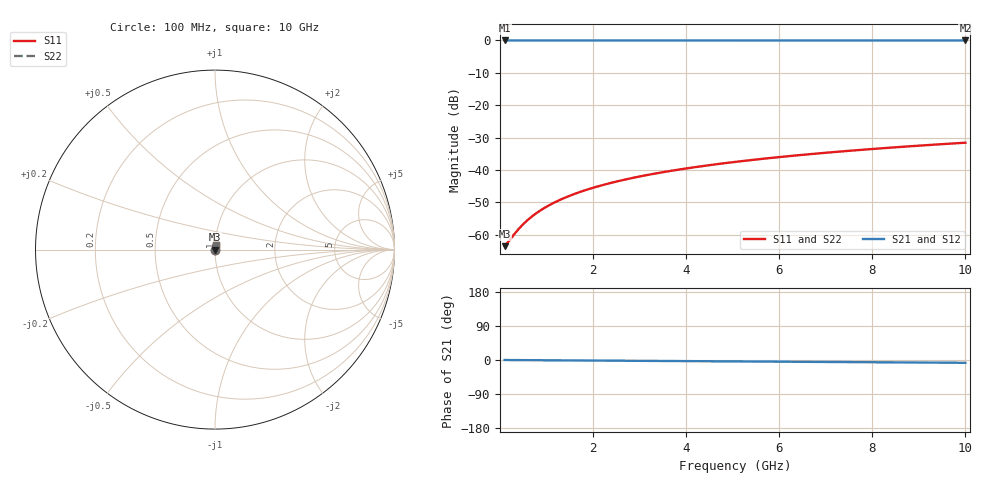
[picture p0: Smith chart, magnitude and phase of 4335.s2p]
# Hz S RI R 50.00
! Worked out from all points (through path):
!   100 points, 100 MHz to 10 GHz, reference 50 ohm
!   highest |S21| = -0.01 dB at 100 MHz (marker M1); lowest = 0.0 dB at 10 GHz (marker M2)
!   group delay of S21, straight-line fit = 2.05 ps
!   lowest |S11| = -63.5 dB at 100 MHz (marker M3), VSWR 1.00, Z = 50.1 + j0.0263 ohm
!   |S11| at or under -10 dB: start of sweep to end of sweep
!   |S22| runs from -63.5 to -31.6 dB; largest |S21 - S12| = 0
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1e8  0.000611 0.000263  0.9994 -0.00128  0.9994 -0.00128  0.000611 0.000263
2e8  0.000616 0.000525  0.9994 -0.00256  0.9994 -0.00256  0.000616 0.000525
3e8  0.00062 0.000788  0.9994 -0.00384  0.9994 -0.00384  0.00062 0.000788
4e8  0.000625 0.00105  0.9994 -0.00512  0.9994 -0.00512  0.000625 0.00105
5e8  0.000629 0.00131  0.9994 -0.0064  0.9994 -0.0064  0.000629 0.00131
6e8  0.000634 0.00158  0.9993 -0.00769  0.9993 -0.00769  0.000634 0.00158
7e8  0.00064 0.00184  0.9993 -0.00897  0.9993 -0.00897  0.00064 0.00184
8e8  0.000646 0.0021  0.9993 -0.0102  0.9993 -0.0102  0.000646 0.0021
1e9  0.00066 0.00262  0.9993 -0.0128  0.9993 -0.0128  0.00066 0.00262
1.2e9  0.000677 0.00315  0.9992 -0.0154  0.9992 -0.0154  0.000677 0.00315
1.5e9  0.000706 0.00394  0.9992 -0.0192  0.9992 -0.0192  0.000706 0.00394
1.8e9  0.000741 0.00472  0.9991 -0.0231  0.9991 -0.0231  0.000741 0.00472
2.1e9  0.000782 0.00551  0.999 -0.0269  0.999 -0.0269  0.000782 0.00551
2.5e9  0.000845 0.00656  0.9988 -0.032  0.9988 -0.032  0.000845 0.00656
2.9e9  0.000919 0.0076  0.9986 -0.0372  0.9986 -0.0372  0.000919 0.0076
3.4e9  0.00103 0.00891  0.9983 -0.0436  0.9983 -0.0436  0.00103 0.00891
4.2e9  0.00123 0.011  0.9978 -0.0538  0.9978 -0.0538  0.00123 0.011
5.1e9  0.00152 0.0133  0.9971 -0.0654  0.9971 -0.0654  0.00152 0.0133
5.9e9  0.00182 0.0154  0.9963 -0.0757  0.9963 -0.0757  0.00182 0.0154
6.7e9  0.00216 0.0175  0.9954 -0.086  0.9954 -0.086  0.00216 0.0175
8.4e9  0.00303 0.0219  0.9932 -0.1078  0.9932 -0.1078  0.00303 0.0219
1e10  0.00403 0.026  0.9906 -0.1284  0.9906 -0.1284  0.00403 0.026
